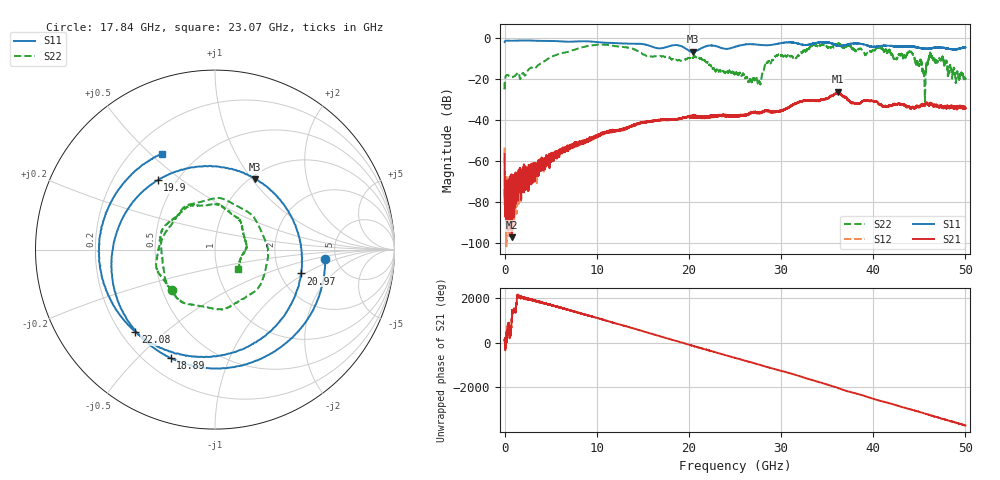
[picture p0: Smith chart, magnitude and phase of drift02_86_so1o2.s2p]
!Created with skrf (http://scikit-rf.org).
# Hz S RI R 50.0
!freq ReS11 ImS11 ReS21 ImS21 ReS12 ImS12 ReS22 ImS22
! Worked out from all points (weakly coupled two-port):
!   10001 points, 300 kHz to 50 GHz, reference 50 ohm
!   highest |S21| = -26.27 dB at 36.13 GHz (marker M1); lowest = -97.5 dB at 785.3 MHz (marker M2)
!   lowest |S11| = -6.9 dB at 20.4 GHz (marker M3), VSWR 2.65, Z = 52.7 + j52 ohm
!   |S11| at or under -10 dB: nowhere
!   |S22| runs from -31.4 to -2.7 dB; largest |S21 - S12| = 0.0052
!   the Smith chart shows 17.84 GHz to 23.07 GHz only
!   S11 on the Smith chart (normalised r, x): 17.84 GHz: 4.08, -0.69; 18.89 GHz: 0.30, -0.63; 19.9 GHz: 0.40, +0.41; 20.97 GHz: 2.60, -0.92; 22.08 GHz: 0.26, -0.40; 23.07 GHz: 0.32, +0.55
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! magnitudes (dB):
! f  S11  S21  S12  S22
! 300 kHz  -2.1  -56.8  -53.7  -21.7
! 255.3 MHz  -1.4  -85.8  -72.6  -18.2
! 785.3 MHz  -1.5  -97.5  -76.7  -19.1
! 8.335 GHz  -1.7  -51.3  -51.1  -4.7
! 16.67 GHz  -5.2  -40.3  -40.2  -9.0
! 17.84 GHz  -4.2  -40.0  -40.0  -9.6
! 18.89 GHz  -3.7  -39.7  -39.4  -10.9
! 19.9 GHz  -6.0  -38.5  -38.5  -9.9
! 20.4 GHz  -6.9  -38.3  -38.4  -9.7
! 20.97 GHz  -6.1  -38.8  -38.9  -9.3
! 22.08 GHz  -3.9  -38.6  -38.6  -12.5
! 23.07 GHz  -4.3  -37.8  -37.9  -15.6
! 25 GHz  -4.5  -38.4  -38.2  -17.6
! 27.63 GHz  -3.5  -36.8  -36.7  -21.4
! 29.55 GHz  -3.1  -36.0  -36.1  -8.8
! 33.34 GHz  -3.1  -30.6  -30.6  -3.8
! 36.13 GHz  -3.9  -26.3  -26.9  -3.1
! 41.67 GHz  -3.9  -33.2  -33.4  -6.0
! 44.15 GHz  -4.2  -34.3  -34.2  -7.2
! 45.52 GHz  -5.3  -33.0  -33.0  -18.8
! 47.34 GHz  -4.8  -33.1  -33.4  -11.1
! 50 GHz  -4.7  -34.7  -34.1  -20.1
